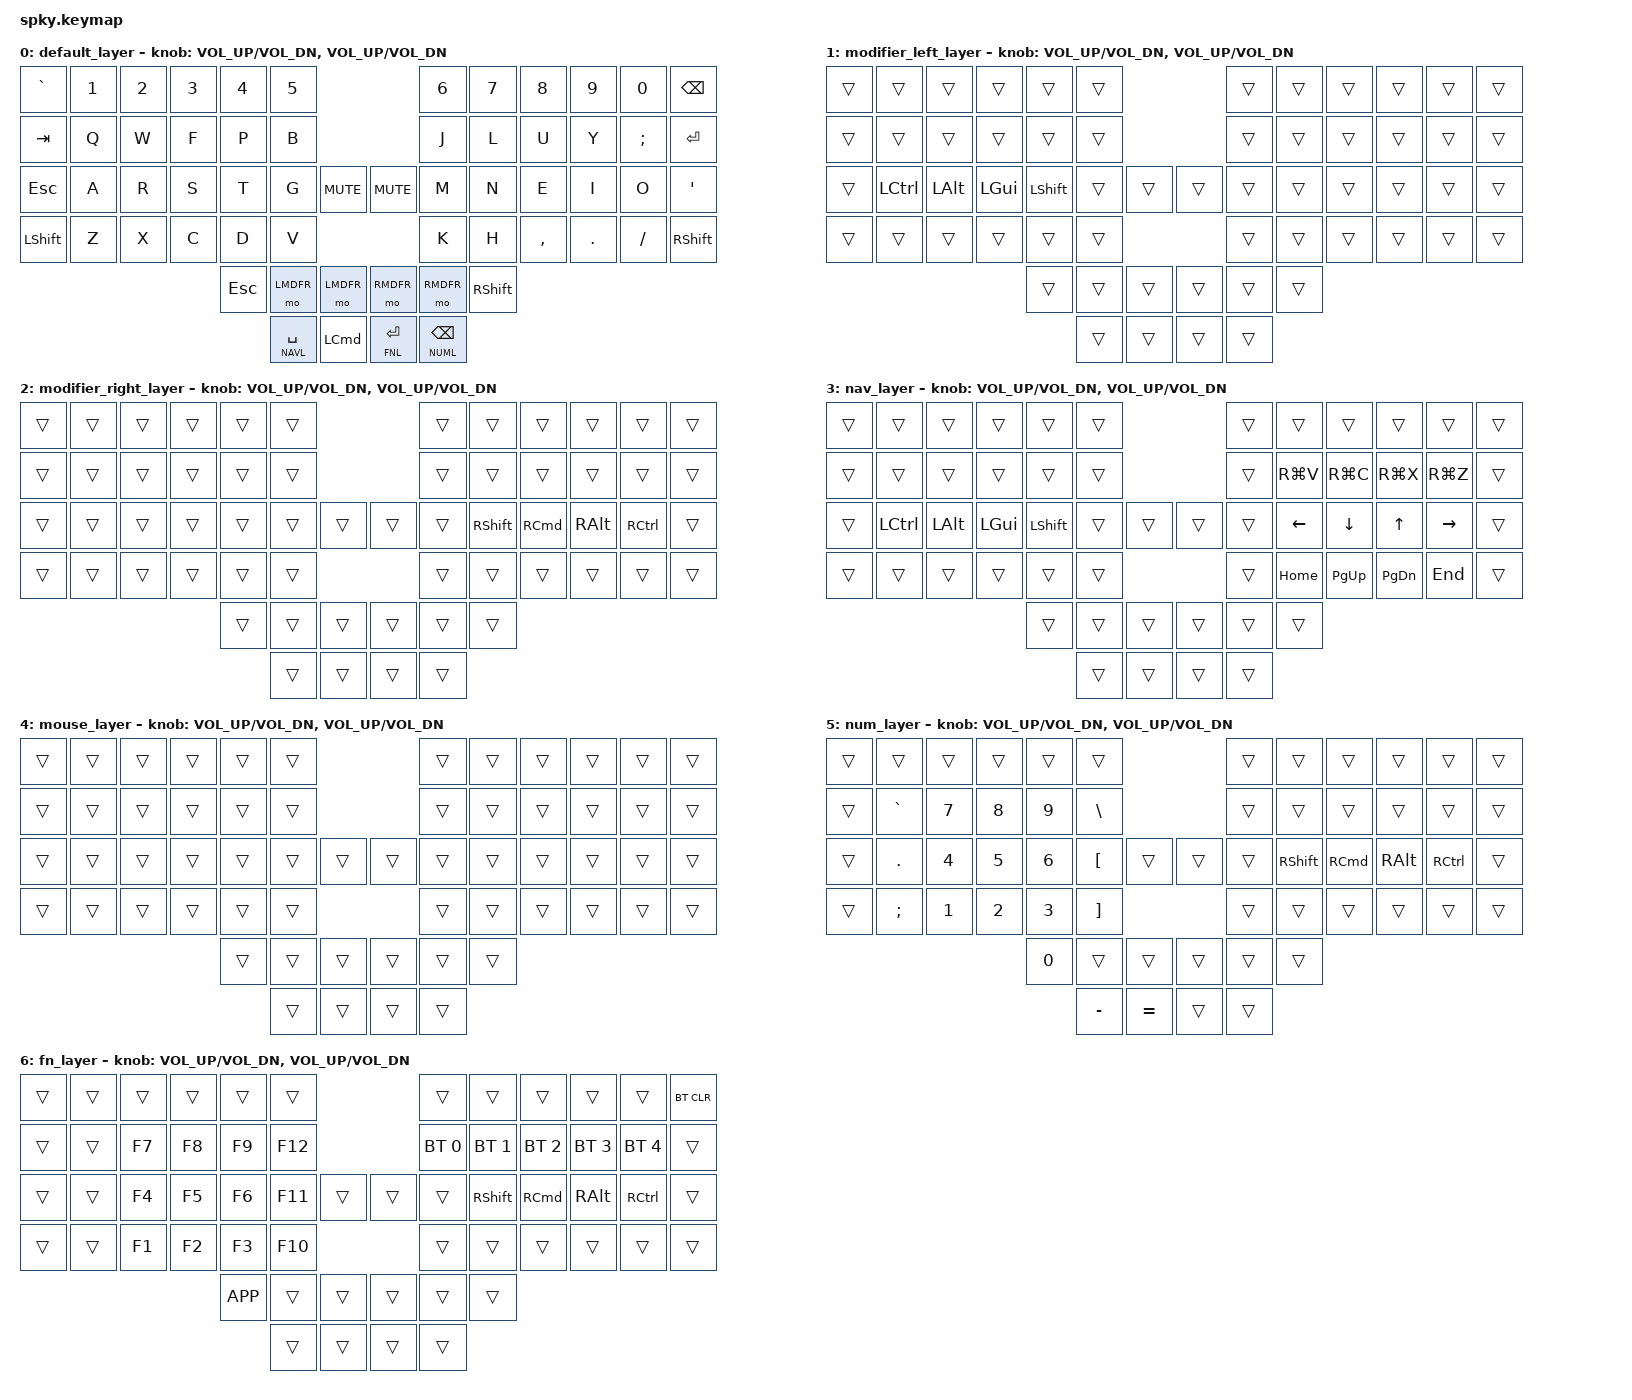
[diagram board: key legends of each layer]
#include <behaviors.dtsi>
#include <dt-bindings/zmk/keys.h>
#include <dt-bindings/zmk/bt.h>

#define HYP LS(LC(LA(LCMD)))
#define MEH LS(LC(LALT))
#define HYPER_Y LS(LC(LA(LG(Y))))

#define DEFAULT  0
#define LMDFR    1
#define RMDFR    2
#define NAVL     3
#define MOUSEL   4
#define NUML     5
#define FNL      6

/ {
        keymap {
                compatible = "zmk,keymap";
                default_layer {
                        bindings = <
&kp GRAVE    &kp N1        &kp N2          &kp N3       &kp N4          &kp N5                                      &kp N6          &kp N7          &kp N8          &kp N9          &kp N0          &kp BSPC
&kp TAB      &kp Q         &kp W           &kp F        &kp P           &kp B                                       &kp J           &kp L           &kp U           &kp Y           &kp SEMI        &kp ENTER
&kp ESC      &kp A         &kp R           &kp S        &kp T           &kp G           &kp K_MUTE  &kp K_MUTE      &kp M           &kp N           &kp E           &kp I           &kp O           &kp SQT
&kp LSHIFT   &kp Z         &kp X           &kp C        &kp D           &kp V                                       &kp K           &kp H           &kp COMMA       &kp DOT         &kp FSLH        &kp RSHFT
                                                        &kp ESC         &mo LMDFR       &mo LMDFR   &mo RMDFR       &mo RMDFR       &kp RSHFT
                                                                        &lt NAVL SPACE  &kp LCMD    &lt FNL ENTER   &lt NUML BSPC
                        >;
                        sensor-bindings = <&inc_dec_kp C_VOL_UP C_VOL_DN &inc_dec_kp C_VOL_UP C_VOL_DN>;
                };

                modifier_left_layer {
                        bindings = <
&trans       &trans         &trans          &trans      &trans          &trans                                      &trans          &trans          &trans          &trans          &trans          &trans
&trans       &trans         &trans          &trans      &trans          &trans                                      &trans          &trans          &trans          &trans          &trans          &trans
&trans       &kp LCTRL      &kp LALT        &kp LGUI    &kp LSHFT       &trans          &trans      &trans          &trans          &trans          &trans          &trans          &trans          &trans
&trans       &trans         &trans          &trans      &trans          &trans                                      &trans          &trans          &trans          &trans          &trans          &trans
                                                        &trans          &trans          &trans      &trans          &trans          &trans
                                                                        &trans          &trans      &trans          &trans
                        >;
                        sensor-bindings = <&inc_dec_kp C_VOL_UP C_VOL_DN &inc_dec_kp C_VOL_UP C_VOL_DN>;
                };

                modifier_right_layer {
                        bindings = <
&trans       &trans         &trans          &trans      &trans          &trans                                      &trans          &trans          &trans          &trans          &trans          &trans
&trans       &trans         &trans          &trans      &trans          &trans                                      &trans          &trans          &trans          &trans          &trans          &trans
&trans       &trans         &trans          &trans      &trans          &trans          &trans      &trans          &trans          &kp RSHFT       &kp RCMD        &kp RALT        &kp RCTRL       &trans
&trans       &trans         &trans          &trans      &trans          &trans                                      &trans          &trans          &trans          &trans          &trans          &trans
                                                        &trans          &trans          &trans      &trans          &trans          &trans
                                                                        &trans          &trans      &trans          &trans
                        >;
                        sensor-bindings = <&inc_dec_kp C_VOL_UP C_VOL_DN &inc_dec_kp C_VOL_UP C_VOL_DN>;
                };

                nav_layer {
                        bindings = <
&trans       &trans         &trans          &trans      &trans          &trans                                      &trans          &trans          &trans          &trans          &trans          &trans
&trans       &trans         &trans          &trans      &trans          &trans                                      &trans          &kp RG(V)       &kp RG(C)       &kp RG(X)       &kp RG(Z)       &trans
&trans       &kp LCTRL      &kp LALT        &kp LGUI    &kp LSHFT       &trans          &trans      &trans          &trans          &kp LEFT        &kp DOWN        &kp UP          &kp RIGHT       &trans
&trans       &trans         &trans          &trans      &trans          &trans                                      &trans          &kp HOME        &kp PG_UP       &kp PG_DN       &kp END         &trans
                                                        &trans          &trans          &trans      &trans          &trans          &trans
                                                                        &trans          &trans      &trans          &trans
                        >;
                        sensor-bindings = <&inc_dec_kp C_VOL_UP C_VOL_DN &inc_dec_kp C_VOL_UP C_VOL_DN>;
                };

                mouse_layer {
                        bindings = <
&trans       &trans         &trans          &trans      &trans          &trans                                      &trans          &trans          &trans          &trans          &trans          &trans
&trans       &trans         &trans          &trans      &trans          &trans                                      &trans          &trans          &trans          &trans          &trans          &trans
&trans       &trans         &trans          &trans      &trans          &trans          &trans      &trans          &trans          &trans          &trans          &trans          &trans          &trans
&trans       &trans         &trans          &trans      &trans          &trans                                      &trans          &trans          &trans          &trans          &trans          &trans
                                                        &trans          &trans          &trans      &trans          &trans          &trans
                                                                        &trans          &trans      &trans          &trans
                        >;
                        sensor-bindings = <&inc_dec_kp C_VOL_UP C_VOL_DN &inc_dec_kp C_VOL_UP C_VOL_DN>;
                };

                num_layer {
                        bindings = <
&trans       &trans         &trans          &trans      &trans          &trans                                      &trans          &trans          &trans          &trans          &trans          &trans
&trans       &kp GRAVE      &kp N7          &kp N8      &kp N9          &kp BSLH                                    &trans          &trans          &trans          &trans          &trans          &trans
&trans       &kp DOT        &kp N4          &kp N5      &kp N6          &kp LBKT        &trans      &trans          &trans          &kp RSHFT       &kp RCMD        &kp RALT        &kp RCTRL       &trans
&trans       &kp SEMI       &kp N1          &kp N2      &kp N3          &kp RBKT                                    &trans          &trans          &trans          &trans          &trans          &trans
                                                        &kp N0          &trans          &trans      &trans          &trans          &trans
                                                                        &kp MINUS       &kp EQUAL   &trans          &trans
                        >;
                        sensor-bindings = <&inc_dec_kp C_VOL_UP C_VOL_DN &inc_dec_kp C_VOL_UP C_VOL_DN>;
                };

                fn_layer {
                        bindings = <
&trans       &trans         &trans          &trans      &trans          &trans                                      &trans          &trans          &trans          &trans           &trans          &bt BT_CLR
&trans       &trans         &kp F7          &kp F8      &kp F9          &kp F12                                     &bt BT_SEL 0    &bt BT_SEL 1    &bt BT_SEL 2    &bt BT_SEL 3     &bt BT_SEL 4    &trans
&trans       &trans         &kp F4          &kp F5      &kp F6          &kp F11         &trans      &trans          &trans          &kp RSHFT       &kp RCMD        &kp RALT         &kp RCTRL       &trans
&trans       &trans         &kp F1          &kp F2      &kp F3          &kp F10                                     &trans          &trans          &trans          &trans           &trans          &trans
                                                        &kp K_APP       &trans          &trans      &trans          &trans          &trans
                                                                        &trans          &trans      &trans          &trans
                        >;
                        sensor-bindings = <&inc_dec_kp C_VOL_UP C_VOL_DN &inc_dec_kp C_VOL_UP C_VOL_DN>;
                };
        };
};
